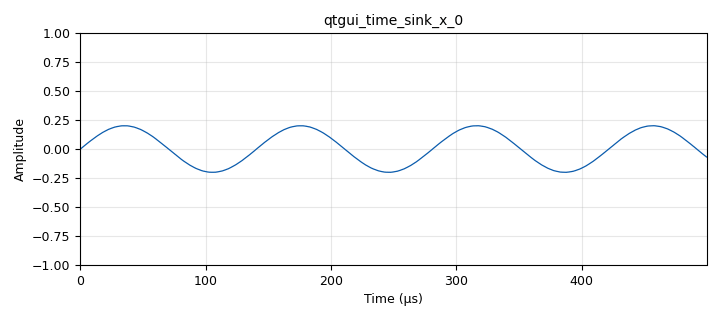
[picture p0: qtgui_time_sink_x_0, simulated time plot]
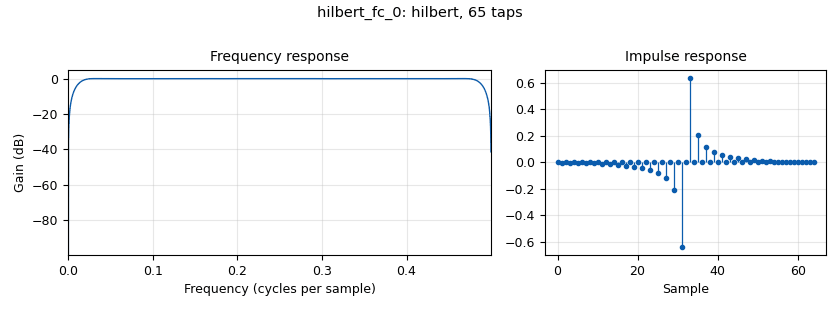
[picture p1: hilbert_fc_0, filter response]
options:
  parameters:
    generate_options: qt_gui
    id: untitled
    output_language: python
    title: Not titled yet
  states: {}

blocks:
- name: audio_samp_rate
  id: variable
  parameters:
    value: '22050'
  states: {}
- name: freq0
  id: variable
  parameters:
    value: 100e3
  states: {}
- name: samp_rate
  id: variable
  parameters:
    value: 2048e3
  states: {}
- name: analog_sig_source_x_0
  id: analog_sig_source_x
  parameters:
    amp: '1'
    freq: freq0
    offset: '0'
    phase: '0'
    samp_rate: samp_rate
    type: complex
    waveform: analog.GR_COS_WAVE
  states: {}
- name: analog_sig_source_x_0_0
  id: analog_sig_source_x
  parameters:
    amp: '1'
    freq: 100e3
    offset: '0'
    phase: '0'
    samp_rate: samp_rate
    type: float
    waveform: analog.GR_COS_WAVE
  states: {}
- name: analog_sig_source_x_0_1
  id: analog_sig_source_x
  parameters:
    amp: '0.2'
    freq: '1000'
    offset: '0'
    phase: '0'
    samp_rate: audio_samp_rate
    type: float
    waveform: analog.GR_COS_WAVE
  states: {}
- name: audio_sink_0
  id: audio_sink
  parameters:
    samp_rate: audio_samp_rate
  states: {}
- name: blocks_add_xx_0
  id: blocks_add_xx
  parameters:
    type: float
  states: {}
- name: blocks_complex_to_float_0
  id: blocks_complex_to_float
  parameters: {}
  states: {}
- name: blocks_complex_to_float_0_0
  id: blocks_complex_to_float
  parameters: {}
  states: {}
- name: blocks_multiply_xx_0
  id: blocks_multiply_xx
  parameters:
    type: float
  states: {}
- name: blocks_multiply_xx_1
  id: blocks_multiply_xx
  parameters:
    type: float
  states: {}
- name: blocks_multiply_xx_1_0
  id: blocks_multiply_xx
  parameters:
    type: float
  states: {}
- name: blocks_null_sink_0
  id: blocks_null_sink
  parameters:
    type: float
  states: {}
- name: blocks_null_sink_0_0
  id: blocks_null_sink
  parameters:
    type: float
  states: {}
- name: blocks_null_sink_0_1
  id: blocks_null_sink
  parameters:
    type: float
  states: {}
- name: blocks_sub_xx_0
  id: blocks_sub_xx
  parameters:
    type: float
  states: {}
- name: blocks_wavfile_source_0
  id: blocks_wavfile_source
  parameters:
    file: /home/karolf/sq5kvs_test_kompresji
    repeat: 'True'
  states: {}
- name: hilbert_fc_0
  id: hilbert_fc
  parameters:
    num_taps: '65'
  states: {}
- name: qtgui_time_sink_x_0
  id: qtgui_time_sink_x
  parameters:
    size: '1024'
    srate: samp_rate
    tr_mode: qtgui.TRIG_MODE_AUTO
    type: float
  states: {}

connections:
- [analog_sig_source_x_0, '0', blocks_complex_to_float_0, '0']
- [analog_sig_source_x_0_0, '0', blocks_multiply_xx_1_0, '1']
- [analog_sig_source_x_0_1, '0', hilbert_fc_0, '0']
- [blocks_add_xx_0, '0', blocks_multiply_xx_1_0, '0']
- [blocks_add_xx_0, '0', qtgui_time_sink_x_0, '0']
- [blocks_complex_to_float_0, '0', blocks_multiply_xx_0, '1']
- [blocks_complex_to_float_0, '1', blocks_multiply_xx_1, '1']
- [blocks_complex_to_float_0_0, '0', blocks_multiply_xx_0, '0']
- [blocks_complex_to_float_0_0, '1', blocks_multiply_xx_1, '0']
- [blocks_multiply_xx_0, '0', blocks_add_xx_0, '0']
- [blocks_multiply_xx_0, '0', blocks_sub_xx_0, '0']
- [blocks_multiply_xx_1, '0', blocks_add_xx_0, '1']
- [blocks_multiply_xx_1, '0', blocks_sub_xx_0, '1']
- [blocks_multiply_xx_1_0, '0', audio_sink_0, '0']
- [blocks_sub_xx_0, '0', blocks_null_sink_0_0, '0']
- [blocks_wavfile_source_0, '0', blocks_null_sink_0, '0']
- [hilbert_fc_0, '0', blocks_complex_to_float_0_0, '0']

metadata:
  file_format: 1
  grc_version: 3.10.10.0
